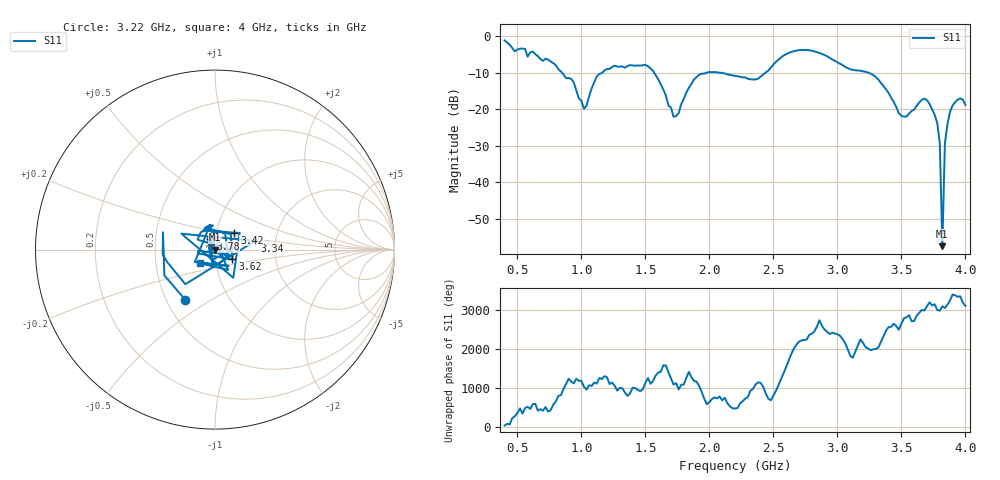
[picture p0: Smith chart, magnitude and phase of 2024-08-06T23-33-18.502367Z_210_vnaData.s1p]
!Created with skrf (http://scikit-rf.org).
# Hz S RI R 50.0
!freq ReS11 ImS11
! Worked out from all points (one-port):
!   181 points, 400 MHz to 4 GHz, reference 50 ohm
!   lowest |S11| = -57.6 dB at 3.82 GHz (marker M1), VSWR 1.00, Z = 49.9 - j0.0625 ohm
!   |S11| at or under -10 dB: 1.568 GHz to 1.981 GHz (413.5 MHz wide, 23.3 % of centre); 2.073 GHz to 2.439 GHz (366.2 MHz wide, 16.2 % of centre); 3.241 GHz to end of sweep (the widest 3 of 4)
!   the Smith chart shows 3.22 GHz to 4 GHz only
!   S11 on the Smith chart (normalised r, x): 3.22 GHz: 0.62, -0.39; 3.34 GHz: 1.56, +0.16; 3.42 GHz: 1.22, +0.23; 3.62 GHz: 1.21, -0.13; 3.78 GHz: 0.94, +0.11; 4 GHz: 0.83, -0.13
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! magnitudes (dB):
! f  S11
! 400 MHz  -1.2
! 860 MHz  -10.5
! 940 MHz  -12.7
! 1.02 GHz  -19.9
! 1.12 GHz  -11.0
! 1.3 GHz  -8.4
! 1.52 GHz  -8.3
! 1.72 GHz  -22.1
! 1.76 GHz  -21.1
! 1.92 GHz  -10.6
! 2.2 GHz  -10.9
! 2.38 GHz  -11.7
! 2.66 GHz  -4.1
! 3.1 GHz  -9.1
! 3.22 GHz  -9.8
! 3.34 GHz  -12.8
! 3.42 GHz  -16.9
! 3.5 GHz  -21.9
! 3.56 GHz  -21.2
! 3.62 GHz  -19.1
! 3.7 GHz  -17.6
! 3.78 GHz  -23.8
! 3.8 GHz  -29.4
! 3.82 GHz  -57.6
! 3.84 GHz  -29.3
! 3.86 GHz  -24.2
! 3.92 GHz  -18.1
! 4 GHz  -18.9
